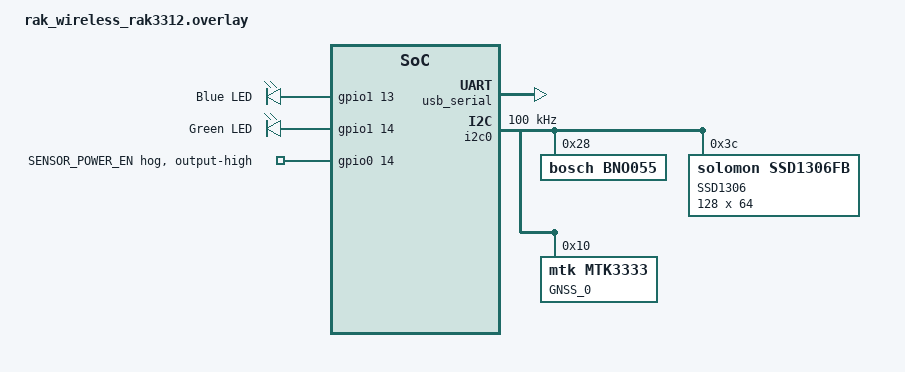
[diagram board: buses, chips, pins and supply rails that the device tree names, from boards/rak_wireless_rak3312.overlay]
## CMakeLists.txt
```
# SPDX-License-Identifier: Apache-2.0

cmake_minimum_required(VERSION 3.13.1)

get_filename_component(PARENT_DIR "${CMAKE_CURRENT_SOURCE_DIR}" DIRECTORY)
list(APPEND ZEPHYR_EXTRA_MODULES ${PARENT_DIR}/astro_custom_modules/libmicroros)
list(APPEND ZEPHYR_EXTRA_MODULES ${PARENT_DIR}/astro_custom_modules/sensor)
list(APPEND ZEPHYR_EXTRA_MODULES ${PARENT_DIR}/astro_custom_modules/gnss)

find_package(Zephyr REQUIRED HINTS $ENV{ZEPHYR_BASE})
project(zephyr_microros_sensor_node)
if(CONFIG_PICOLIBC)
    add_compile_definitions(__STDC_WANT_LIB_EXT1__=1)
endif()


target_sources(app PRIVATE sensor_node_app/all_sensors_test.cpp)
message(board name is ${BOARD} \n\n)
if(BOARD STREQUAL "adafruit_feather_esp32s3")
    target_sources(app PRIVATE sensor_node_app/status_class.cpp)
endif()
```

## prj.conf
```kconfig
CONFIG_GPIO=y
CONFIG_MICROROS=y
CONFIG_CPP=y

CONFIG_MAIN_STACK_SIZE=8192

CONFIG_PICOLIBC=y
CONFIG_POSIX_API=y

CONFIG_STDOUT_CONSOLE=y
CONFIG_LOG=y
CONFIG_SERIAL=y
CONFIG_UART_CONSOLE=y
CONFIG_CONSOLE=y
CONFIG_PICOLIBC_MODULE=y
```

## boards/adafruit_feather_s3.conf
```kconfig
# USB device (new stack)
CONFIG_USB_DEVICE_STACK_NEXT=y
CONFIG_USB_DEVICE_PRODUCT="ESP32_S3"
CONFIG_USB_DEVICE_MANUFACTURER="Arduino"

# CDC ACM class
CONFIG_USB_CDC_ACM=y

# Console over USB
CONFIG_SERIAL=y
CONFIG_UART_CONSOLE=y
CONFIG_UART_INTERRUPT_DRIVEN=y
CONFIG_CONSOLE=y

# Logging (optional but useful)
CONFIG_LOG=y
CONFIG_LOG_MODE_DEFERRED=y

CONFIG_MICROROS_TRANSPORT_SERIAL_USB=y

#Neopixel
CONFIG_LED_STRIP=y
CONFIG_WS2812_STRIP_SPI=y
CONFIG_POWER_DOMAIN=y
CONFIG_POWER_DOMAIN_GPIO=y
#Sensors
CONFIG_I2C=y
CONFIG_SENSOR=y
CONFIG_SENSOR_LOG_LEVEL_DBG=y
CONFIG_CBPRINTF_FP_SUPPORT=y
CONFIG_CBPRINTF_COMPLETE=y


CONFIG_DISPLAY=y
CONFIG_SSD1306=y
CONFIG_SSD1306_DEFAULT_CONTRAST=128
CONFIG_CHARACTER_FRAMEBUFFER=y
CONFIG_CHARACTER_FRAMEBUFFER_USE_DEFAULT_FONTS=y
CONFIG_CFB_LOG_LEVEL_INF=y
```

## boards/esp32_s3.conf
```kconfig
# USB device (new stack)
CONFIG_USB_DEVICE_STACK_NEXT=y
CONFIG_USB_DEVICE_PRODUCT="ESP32_S3"
CONFIG_USB_DEVICE_MANUFACTURER="Arduino"

# CDC ACM class
CONFIG_USB_CDC_ACM=y

# Console over USB
CONFIG_SERIAL=y
CONFIG_UART_CONSOLE=y
CONFIG_CONSOLE=y
CONFIG_UART_INTERRUPT_DRIVEN=y

# Logging (optional but useful)
CONFIG_LOG=y
CONFIG_LOG_MODE_DEFERRED=y
CONFIG_DYNAMIC_INTERRUPTS=y

CONFIG_MICROROS_TRANSPORT_SERIAL_USB=y
```

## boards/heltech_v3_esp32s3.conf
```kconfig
# USB device (new stack)
CONFIG_USB_DEVICE_STACK_NEXT=y
CONFIG_USB_DEVICE_PRODUCT="ESP32_S3"
CONFIG_USB_DEVICE_MANUFACTURER="Arduino"

# CDC ACM class
CONFIG_USB_CDC_ACM=y

# Console over USB
CONFIG_SERIAL=y
CONFIG_UART_CONSOLE=y
CONFIG_CONSOLE=y
CONFIG_UART_INTERRUPT_DRIVEN=y

# Logging (optional but useful)
CONFIG_LOG=y
CONFIG_LOG_MODE_DEFERRED=y
CONFIG_DYNAMIC_INTERRUPTS=y

# CONFIG_MICROROS_TRANSPORT_SERIAL_USB=y
# CONFIG_DISPLAY=y
# CONFIG_SSD1306=y
CONFIG_I2C=y
CONFIG_LOG_DEFAULT_LEVEL=4
```

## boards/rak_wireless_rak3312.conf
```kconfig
# USB device (new stack)
CONFIG_USB_DEVICE_STACK_NEXT=y
CONFIG_USB_DEVICE_PRODUCT="ESP32_S3"
CONFIG_USB_DEVICE_MANUFACTURER="RAK Wireless"

# CDC ACM class
CONFIG_USB_CDC_ACM=y

# Console over USB
CONFIG_SERIAL=y
CONFIG_UART_CONSOLE=y
CONFIG_UART_INTERRUPT_DRIVEN=y
CONFIG_CONSOLE=y

# Logging (optional but useful)
CONFIG_LOG=y
CONFIG_LOG_MODE_DEFERRED=y

CONFIG_MICROROS_TRANSPORT_SERIAL_USB=y

CONFIG_PRINTK=y
CONFIG_LOG_DEFAULT_LEVEL=4

#Sensors
CONFIG_I2C=y
CONFIG_SENSOR=y
CONFIG_SENSOR_LOG_LEVEL_DBG=y
CONFIG_CBPRINTF_FP_SUPPORT=y
CONFIG_CBPRINTF_COMPLETE=y
CONFIG_GPIO=y

CONFIG_DISPLAY=y
CONFIG_SSD1306=y
CONFIG_SSD1306_DEFAULT_CONTRAST=128
CONFIG_CHARACTER_FRAMEBUFFER=y
CONFIG_CHARACTER_FRAMEBUFFER_USE_DEFAULT_FONTS=y
CONFIG_CFB_LOG_LEVEL_INF=y

CONFIG_GNSS=y
CONFIG_GNSS_SATELLITES=y
CONFIG_MTK3333=y

CONFIG_ESP_SPIRAM=y
CONFIG_SPIRAM_MODE_OCT=y
CONFIG_ESP_SPIRAM_MEMTEST=y

CONFIG_WATCHDOG=y
CONFIG_WDT_LOG_LEVEL_INF=y
CONFIG_HWINFO=y
```

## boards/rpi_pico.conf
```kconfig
CONFIG_MICROROS_TRANSPORT_SERIAL=y
CONFIG_USB_DEVICE_INITIALIZE_AT_BOOT=y
CONFIG_USB_CDC_ACM=y
CONFIG_UART_LINE_CTRL=y
CONFIG_UDC_DRIVER=y
CONFIG_UDC_BUF_COUNT=16
CONFIG_UDC_BUF_POOL_SIZE=1024
CONFIG_UDC_RPI_PICO=y
CONFIG_UDC_RPI_PICO_STACK_SIZE=512
CONFIG_UDC_RPI_PICO_THREAD_PRIORITY=8
CONFIG_USB_DEVICE_STACK_NEXT=y
CONFIG_USBD_CDC_ACM_CLASS=y
CONFIG_CDC_ACM_SERIAL_INITIALIZE_AT_BOOT=y
CONFIG_CDC_ACM_SERIAL_ENABLE_AT_BOOT=y
CONFIG_CDC_ACM_SERIAL_MANUFACTURER_STRING="Zephyr Project"
CONFIG_COMMON_LIBC_MALLOC=y
CONFIG_COMMON_LIBC_CALLOC=y
CONFIG_COMMON_LIBC_REALLOCARRAY=y
CONFIG_PICOLIBC=y
CONFIG_PICOLIBC_IO_LONG_LONG=y
```

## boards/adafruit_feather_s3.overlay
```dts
/ {
    aliases {
        my-led = &led0;
        gnss = &gnssnode;
    };
};

&i2c0 {
    status = "okay";

    bno055: bno055@28 {
        compatible = "bosch,bno055";
        reg = <0x28>;
        use_xtal;
        zephyr,deferred-init;
    };
    ssd1306: ssd1306@3c {
        compatible = "solomon,ssd1306fb";
        reg = <0x3c>;
        width = <128>;
        height = <64>;

        segment-offset = <0>;
        page-offset = <0>;
        display-offset = <0>;
        multiplex-ratio = <63>;
        prechargep = <0x22>;
        label = "SSD1306";
        ready-time-ms = <500>;
    };
    gnssnode: gnss@10 {
        compatible = "mtk,mtk3333";
        reg = <0x10>;
        label = "GNSS_0";
        status = "okay";
    };
};
```

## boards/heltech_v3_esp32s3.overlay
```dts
&i2c0 {
    status = "okay";
};


&i2c0_default {
    group1 {
        pinmux = <I2C0_SDA_GPIO17 I2C0_SCL_GPIO18>;
        bias-pull-up;
        drive-open-drain;
        output-high;
    };
};

/ {
    oled_reset: oled-reset {
        gpios = <&gpio0 21 GPIO_ACTIVE_LOW>;
    };
};
```

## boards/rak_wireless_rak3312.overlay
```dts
/ {
	chosen {
		zephyr,console = &usb_serial;
		zephyr,shell-uart = &usb_serial;
	};
    aliases {
        my-green-led = &green_led;
        my-blue-led = &blue_led;
        gnss = &gnssnode;
    };
    leds {
		compatible = "gpio-leds";
		blue_led: led_0 {
			gpios = <&gpio1 13 GPIO_ACTIVE_HIGH>; /* G45 */
			label = "Blue LED";
		};
		green_led: led_1 {
			gpios = <&gpio1 14 GPIO_ACTIVE_HIGH>; /* G46 */
			label = "Green LED";
		};
	};
};

&usb_serial {
	status = "okay";
};
&gpio1 {
	status = "okay";
};

&gpio0 {
    status = "okay";
     /*
     * Needed to power the sensor slot A ( and possibly B , C and D )
     */
    sensor_slot_power: sensor-slot-power {
        gpio-hog;
        gpios = <14 GPIO_ACTIVE_HIGH>;
        output-high;
        line-name = "SENSOR_POWER_EN";
    };
};



&i2c0 {
	status = "okay";
	pinctrl-0 = <&i2c0_default>;
	pinctrl-names = "default";
	clock-frequency = <I2C_BITRATE_STANDARD>;
    bno055: bno055@28 {
        compatible = "bosch,bno055";
        reg = <0x28>;
        use_xtal;
        zephyr,deferred-init;
    };
    ssd1306: ssd1306@3c {
        compatible = "solomon,ssd1306fb";
        reg = <0x3c>;
        width = <128>;
        height = <64>;

        segment-offset = <0>;
        page-offset = <0>;
        display-offset = <0>;
        multiplex-ratio = <63>;
        prechargep = <0x22>;
        label = "SSD1306";
        ready-time-ms = <1000>;
        segment-remap;
        com-invdir;
    };
    gnssnode: gnss@10 {
        compatible = "mtk,mtk3333";
        reg = <0x10>;
        label = "GNSS_0";
        status = "okay";
    };
};
```

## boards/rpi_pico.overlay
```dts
/ {
    aliases {
        my-led = &myled;
    };

	chosen {
        zephyr,console = &cdc_acm_uart0;
    };

    leds {
        compatible = "gpio-leds";

        myled: my_led {
            gpios = <&gpio0 14 GPIO_ACTIVE_HIGH>;
            label = "External LED";
        };
    };
};

&zephyr_udc0 {
    cdc_acm_uart0: cdc_acm_uart0 {
        compatible = "zephyr,cdc-acm-uart";
        status = "okay";
        label = "CDC_ACM_0";
    };
};
```

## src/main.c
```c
#include <version.h>

#if ZEPHYR_VERSION_CODE >= ZEPHYR_VERSION(3, 1, 0)
#include <zephyr/kernel.h>
#include <zephyr/sys/printk.h>
#else
#include <sys/printk.h>
#include <zephyr.h>
#endif

#include <rcl/error_handling.h>
#include <rcl/rcl.h>
#include <rclc/executor.h>
#include <rclc/rclc.h>

#include <std_msgs/msg/int32.h>

#include <microros_transports.h>
#include <rmw_microros/rmw_microros.h>

/* =========================================================
 * Configuration
 * ========================================================= */

#define EXECUTOR_STACK_SIZE 4096
#define TIME_SYNC_STACK_SIZE 1024

#define EXECUTOR_PRIORITY 5
#define TIME_SYNC_PRIORITY 7 /* lower priority */

#define PUBLISH_PERIOD_MS 1000
#define TIME_SYNC_PERIOD_MS 1000

/* =========================================================
 * Error handling macros
 * ========================================================= */

#define RCCHECK(fn)                                                            \
  do {                                                                         \
    rcl_ret_t rc = (fn);                                                       \
    if (rc != RCL_RET_OK) {                                                    \
      printk("RCL error %d at line %d\n", rc, __LINE__);                       \
      for (;;) {                                                               \
        k_sleep(K_FOREVER);                                                    \
      }                                                                        \
    }                                                                          \
  } while (0)

#define RCSOFTCHECK(fn)                                                        \
  do {                                                                         \
    rcl_ret_t rc = (fn);                                                       \
    if (rc != RCL_RET_OK) {                                                    \
      printk("RCL warning %d at line %d\n", rc, __LINE__);                     \
    }                                                                          \
  } while (0)

/* =========================================================
 * micro-ROS objects
 * ========================================================= */

static rclc_support_t support;
static rcl_node_t node;
static rcl_publisher_t publisher;
static rcl_timer_t timer;
static rclc_executor_t executor;

static std_msgs__msg__Int32 msg;

/* =========================================================
 * Thread objects
 * ========================================================= */

K_THREAD_STACK_DEFINE(executor_stack, EXECUTOR_STACK_SIZE);
static struct k_thread executor_thread;

K_THREAD_STACK_DEFINE(time_sync_stack, TIME_SYNC_STACK_SIZE);
static struct k_thread time_sync_thread;

/* =========================================================
 * Timer callback (runs inside executor thread)
 * ========================================================= */

static void timer_callback(rcl_timer_t *timer, int64_t last_call_time) {
  ARG_UNUSED(last_call_time);

  if (timer != NULL) {
    RCSOFTCHECK(rcl_publish(&publisher, &msg, NULL));
    msg.data++;
  }
}

/* =========================================================
 * micro-ROS executor thread
 * ========================================================= */

static void executor_thread_entry(void *a, void *b, void *c) {
  ARG_UNUSED(a);
  ARG_UNUSED(b);
  ARG_UNUSED(c);

  while (1) {
    rclc_executor_spin_some(&executor, RCL_MS_TO_NS(10));
    k_sleep(K_MSEC(1));
  }
}

/* =========================================================
 * Time synchronization thread
 * ========================================================= */

static void time_sync_thread_entry(void *a, void *b, void *c) {
  ARG_UNUSED(a);
  ARG_UNUSED(b);
  ARG_UNUSED(c);

  /* Give transport + agent time to come up */
  k_sleep(K_SECONDS(2));

  while (1) {
    bool ok = rmw_uros_sync_session(50); /* 50 ms timeout */

    if (!ok) {
      printk("micro-ROS time sync failed\n");
    }

    k_sleep(K_MSEC(TIME_SYNC_PERIOD_MS));
  }
}

/* =========================================================
 * main()
 * ========================================================= */

int main(void) {
  printk("Zephyr micro-ROS example starting\n");

  /* Allow system to stabilize */
  k_sleep(K_SECONDS(2));

  /* Configure custom transport */
  rmw_uros_set_custom_transport(true, NULL, zephyr_transport_open,
                                zephyr_transport_close, zephyr_transport_write,
                                zephyr_transport_read);

  /* Allocator */
  rcl_allocator_t allocator = rcl_get_default_allocator();

  /* Init options with custom domain ID */
  rcl_init_options_t init_options = rcl_get_zero_initialized_init_options();
  RCCHECK(rcl_init_options_init(&init_options, allocator));
  RCCHECK(rcl_init_options_set_domain_id(&init_options, 10));

  /* micro-ROS support */
  RCCHECK(rclc_support_init_with_options(&support, 0, NULL, &init_options,
                                         &allocator));

  /* Node */
  node = rcl_get_zero_initialized_node();
  RCCHECK(rclc_node_init_default(&node, "zephyr_publisher", "", &support));

  /* Publisher */
  RCCHECK(rclc_publisher_init_default(
      &publisher, &node, ROSIDL_GET_MSG_TYPE_SUPPORT(std_msgs, msg, Int32),
      "/zephyr_int_publisher"));

  /* Timer */
  RCCHECK(rclc_timer_init_default(
      &timer, &support, RCL_MS_TO_NS(PUBLISH_PERIOD_MS), timer_callback));

  /* Executor */
  RCCHECK(rclc_executor_init(&executor, &support.context, 1, &allocator));

  RCCHECK(rclc_executor_add_timer(&executor, &timer));

  msg.data = 0;

  /* Start executor thread */
  k_thread_create(&executor_thread, executor_stack, EXECUTOR_STACK_SIZE,
                  executor_thread_entry, NULL, NULL, NULL, EXECUTOR_PRIORITY, 0,
                  K_NO_WAIT);

  k_thread_name_set(&executor_thread, "uros_executor");

  /* Start time sync thread */
  k_thread_create(&time_sync_thread, time_sync_stack, TIME_SYNC_STACK_SIZE,
                  time_sync_thread_entry, NULL, NULL, NULL, TIME_SYNC_PRIORITY,
                  0, K_NO_WAIT);

  k_thread_name_set(&time_sync_thread, "uros_time_sync");

  printk("micro-ROS threads started\n");

  /* main thread does nothing further */
  while (1) {
    k_sleep(K_FOREVER);
  }
}
```

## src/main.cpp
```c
#include <version.h>

#if ZEPHYR_VERSION_CODE >= ZEPHYR_VERSION(3, 1, 0)
#include <zephyr/kernel.h>
#include <zephyr/sys/printk.h>
#else
#include <sys/printk.h>
#include <zephyr.h>
#endif

#include <rcl/error_handling.h>
#include <rcl/rcl.h>
#include <rclc/executor.h>
#include <rclc/rclc.h>

#include <std_msgs/msg/int32.h>

#include <microros_transports.h>
#include <rmw_microros/rmw_microros.h>

#include "status_class.hpp"
#include <zephyr/device.h>

/* =========================================================
 * Configuration
 * ========================================================= */

#define EXECUTOR_STACK_SIZE 4096
#define TIME_SYNC_STACK_SIZE 1024

#define EXECUTOR_PRIORITY 5
#define TIME_SYNC_PRIORITY 7 /* lower priority */

#define PUBLISH_PERIOD_MS 1000
#define TIME_SYNC_PERIOD_MS 1000

/* =========================================================
 * Error handling macros
 * ========================================================= */

#define RCCHECK(fn)                                                            \
  do {                                                                         \
    rcl_ret_t rc = (fn);                                                       \
    if (rc != RCL_RET_OK) {                                                    \
      printk("RCL error %d at line %d\n", rc, __LINE__);                       \
      for (;;) {                                                               \
        k_sleep(K_FOREVER);                                                    \
      }                                                                        \
    }                                                                          \
  } while (0)

#define RCSOFTCHECK(fn)                                                        \
  do {                                                                         \
    rcl_ret_t rc = (fn);                                                       \
    if (rc != RCL_RET_OK) {                                                    \
      printk("RCL warning %d at line %d\n", rc, __LINE__);                     \
    }                                                                          \
  } while (0)

/* =========================================================
 * micro-ROS objects
 * ========================================================= */

static rclc_support_t support;
static rcl_node_t node;
static rcl_publisher_t publisher;
static rcl_timer_t timer;
static rclc_executor_t executor;

static std_msgs__msg__Int32 msg;

/* =========================================================
 * Thread objects
 * ========================================================= */

K_THREAD_STACK_DEFINE(executor_stack, EXECUTOR_STACK_SIZE);
static struct k_thread executor_thread;

K_THREAD_STACK_DEFINE(time_sync_stack, TIME_SYNC_STACK_SIZE);
static struct k_thread time_sync_thread;

/* =========================================================
 * Timer callback (runs inside executor thread)
 * ========================================================= */

static void timer_callback(rcl_timer_t *timer, int64_t last_call_time) {
  ARG_UNUSED(last_call_time);

  if (timer != NULL) {
    RCSOFTCHECK(rcl_publish(&publisher, &msg, NULL));
    msg.data++;
  }
}

/* =========================================================
 * micro-ROS executor thread
 * ========================================================= */

static void executor_thread_entry(void *a, void *b, void *c) {
  ARG_UNUSED(a);
  ARG_UNUSED(b);
  ARG_UNUSED(c);

  while (1) {
    rclc_executor_spin_some(&executor, RCL_MS_TO_NS(10));
    k_sleep(K_MSEC(1));
  }
}

/* =========================================================
 * Time synchronization thread
 * ========================================================= */

static void time_sync_thread_entry(void *a, void *b, void *c) {
  ARG_UNUSED(a);
  ARG_UNUSED(b);
  ARG_UNUSED(c);

  StatusClass status_led;
  /* Give transport + agent time to come up */
  k_sleep(K_SECONDS(2));

  status_led.display_color(colors[1]);
  while (1) {
    bool ok = rmw_uros_sync_session(50); /* 50 ms timeout */

    if (!ok) {
      printk("micro-ROS time sync failed\n");
    }
    k_sleep(K_MSEC(TIME_SYNC_PERIOD_MS));
  }
}

/* =========================================================
 * main()
 * ========================================================= */

int main(void) {
  printk("Zephyr micro-ROS example starting\n");

  k_sleep(K_MSEC(10)); /* allow rail to stabilize */

  /* Allow system to stabilize */
  k_sleep(K_SECONDS(2));

  /* Configure custom transport */
  rmw_uros_set_custom_transport(true, NULL, zephyr_transport_open,
                                zephyr_transport_close, zephyr_transport_write,
                                zephyr_transport_read);

  /* Allocator */
  rcl_allocator_t allocator = rcl_get_default_allocator();

  /* Init options with custom domain ID */
  rcl_init_options_t init_options = rcl_get_zero_initialized_init_options();
  RCCHECK(rcl_init_options_init(&init_options, allocator));
  RCCHECK(rcl_init_options_set_domain_id(&init_options, 10));

  /* micro-ROS support */
  RCCHECK(rclc_support_init_with_options(&support, 0, NULL, &init_options,
                                         &allocator));

  /* Node */
  node = rcl_get_zero_initialized_node();
  RCCHECK(rclc_node_init_default(&node, "zephyr_publisher", "", &support));

  /* Publisher */
  RCCHECK(rclc_publisher_init_default(
      &publisher, &node, ROSIDL_GET_MSG_TYPE_SUPPORT(std_msgs, msg, Int32),
      "/zephyr_int_publisher"));

  /* Timer */
  RCCHECK(rclc_timer_init_default(
      &timer, &support, RCL_MS_TO_NS(PUBLISH_PERIOD_MS), timer_callback));

  /* Executor */
  RCCHECK(rclc_executor_init(&executor, &support.context, 1, &allocator));

  RCCHECK(rclc_executor_add_timer(&executor, &timer));

  msg.data = 0;

  /* Start executor thread */
  k_thread_create(&executor_thread, executor_stack, EXECUTOR_STACK_SIZE,
                  executor_thread_entry, NULL, NULL, NULL, EXECUTOR_PRIORITY, 0,
                  K_NO_WAIT);

  k_thread_name_set(&executor_thread, "uros_executor");

  /* Start time sync thread */
  k_thread_create(&time_sync_thread, time_sync_stack, TIME_SYNC_STACK_SIZE,
                  time_sync_thread_entry, NULL, NULL, NULL, TIME_SYNC_PRIORITY,
                  0, K_NO_WAIT);

  k_thread_name_set(&time_sync_thread, "uros_time_sync");

  printk("micro-ROS threads started\n");

  /* main thread does nothing further */
  while (1) {
    k_sleep(K_FOREVER);
  }
}
```

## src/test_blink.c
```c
/*
 * Copyright (c) 2016 Intel Corporation
 *
 * SPDX-License-Identifier: Apache-2.0
 */
#define __STDC_WANT_LIB_EXT1__ 1
#include <stdio.h>
#include <stdlib.h>
#include <zephyr/drivers/gpio.h>
#include <zephyr/kernel.h>

/* 1000 msec = 1 sec */
#define SLEEP_TIME_MS 1000

/* The devicetree node identifier for the "led0" alias. */
#define LED0_NODE DT_ALIAS(my_led)

/*
 * A build error on this line means your board is unsupported.
 * See the sample documentation for information on how to fix this.
 */
static const struct gpio_dt_spec led = GPIO_DT_SPEC_GET(LED0_NODE, gpios);

int main(void) {
  int ret;
  bool led_state = true;

  if (!gpio_is_ready_dt(&led)) {
    return 0;
  }

  ret = gpio_pin_configure_dt(&led, GPIO_OUTPUT_ACTIVE);
  if (ret < 0) {
    return 0;
  }

  while (1) {
    ret = gpio_pin_toggle_dt(&led);
    if (ret < 0) {
      return 0;
    }

    led_state = !led_state;
    printf("LED state: %s\n", led_state ? "ON" : "OFF");
    k_msleep(SLEEP_TIME_MS);
  }
  return 0;
}
```
